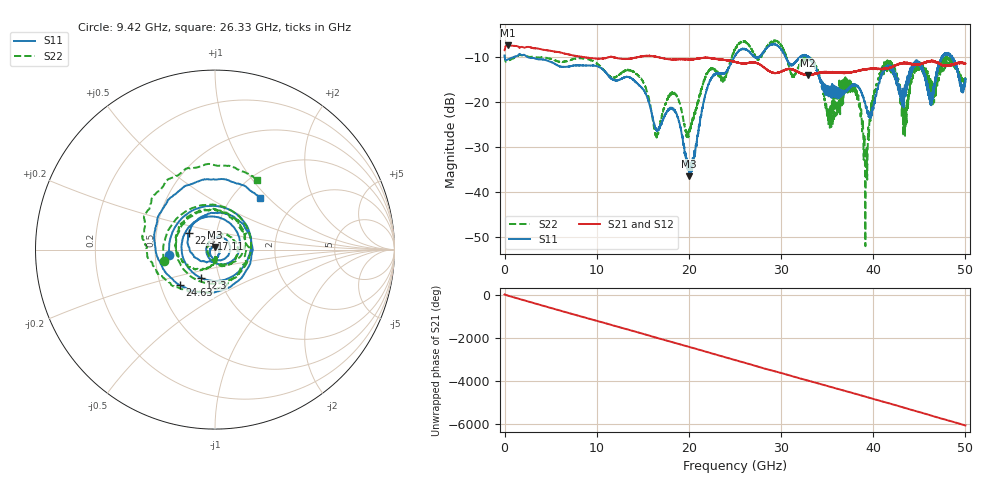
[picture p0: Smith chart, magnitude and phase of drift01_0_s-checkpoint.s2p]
!Created with skrf (http://scikit-rf.org).
# Hz S RI R 50.0
!freq ReS11 ImS11 ReS21 ImS21 ReS12 ImS12 ReS22 ImS22
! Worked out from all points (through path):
!   10001 points, 300 kHz to 50 GHz, reference 50 ohm
!   highest |S21| = -7.34 dB at 315.3 MHz (marker M1); lowest = -14.0 dB at 32.87 GHz (marker M2)
!   group delay of S21, straight-line fit = 335 ps
!   lowest |S11| = -36.5 dB at 20.03 GHz (marker M3), VSWR 1.03, Z = 50.1 + j1.5 ohm
!   |S11| at or under -10 dB: 2.567 GHz to 24.91 GHz (22.35 GHz wide, 163 % of centre); 30.49 GHz to 32.01 GHz (1.52 GHz wide, 4.86 % of centre); 33.03 GHz to 47.41 GHz (14.39 GHz wide, 35.8 % of centre)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
!   |S22| runs from -52.0 to -6.2 dB; largest |S21 - S12| = 0.008
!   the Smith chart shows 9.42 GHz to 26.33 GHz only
!   S11 on the Smith chart (normalised r, x): 9.42 GHz: 0.59, -0.04; 12.3 GHz: 0.81, -0.26; 17.11 GHz: 0.96, +0.11; 22.3 GHz: 0.73, +0.14; 24.63 GHz: 0.63, -0.27; 26.33 GHz: 1.33, +0.90
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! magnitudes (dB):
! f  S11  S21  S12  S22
! 300 kHz  -9.6  -8.4  -8.5  -9.6
! 315.3 MHz  -10.5  -7.3  -7.3  -10.9
! 8.335 GHz  -11.8  -9.9  -9.9  -10.2
! 9.42 GHz  -11.8  -10.2  -10.2  -10.7
! 12.3 GHz  -15.1  -10.2  -10.2  -14.1
! 16.67 GHz  -26.2  -10.0  -10.0  -27.0
! 17.11 GHz  -24.2  -10.2  -10.2  -22.7
! 18.52 GHz  -22.1  -10.5  -10.5  -18.1
! 20.03 GHz  -36.5  -10.5  -10.5  -26.6
! 22.3 GHz  -15.2  -10.1  -10.1  -12.8
! 24.63 GHz  -11.1  -10.8  -10.8  -10.1
! 25 GHz  -9.6  -11.0  -11.0  -8.3
! 26.33 GHz  -8.3  -11.2  -11.3  -6.9
! 32.87 GHz  -9.8  -14.0  -13.9  -9.9
! 33.34 GHz  -10.8  -13.8  -13.8  -10.5
! 35.22 GHz  -17.0  -13.3  -13.3  -21.9
! 37.98 GHz  -16.2  -13.2  -13.2  -17.1
! 39.17 GHz  -20.8  -12.7  -12.6  -42.2
! 41.67 GHz  -12.3  -12.3  -12.4  -11.8
! 43.38 GHz  -17.5  -11.3  -11.3  -20.0
! 44.8 GHz  -10.8  -11.6  -11.6  -12.4
! 50 GHz  -15.4  -11.4  -11.4  -15.1
